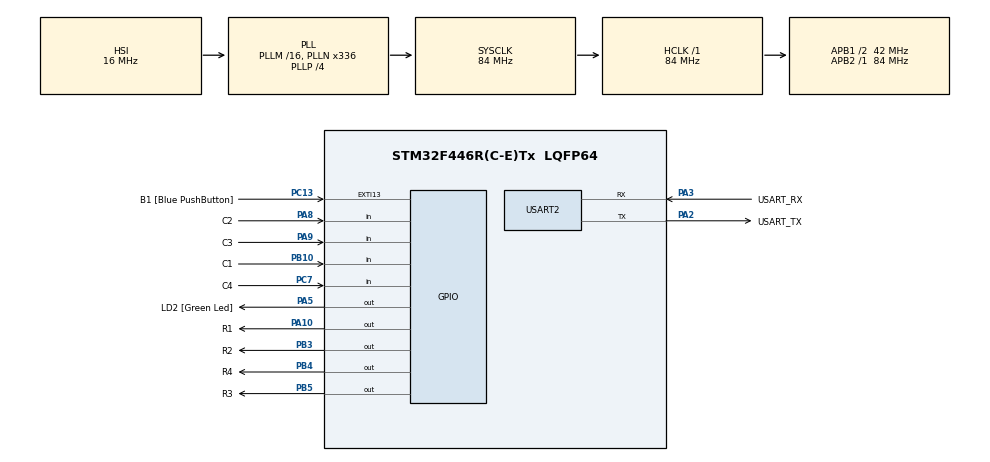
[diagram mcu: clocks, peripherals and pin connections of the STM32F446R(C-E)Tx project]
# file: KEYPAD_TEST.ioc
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Mcu.Family=STM32F4
Mcu.Name=STM32F446R(C-E)Tx
Mcu.Package=LQFP64
NVIC.PriorityGroup=NVIC_PRIORITYGROUP_0
PA10.GPIO_Label=R1
PA10.GPIO_PuPd=GPIO_NOPULL
PA10.Signal=GPIO_Output
PA13.GPIO_Label=TMS
PA13.Mode=Serial_Wire
PA13.Signal=SYS_JTMS-SWDIO
PA14.GPIO_Label=TCK
PA14.Mode=Serial_Wire
PA14.Signal=SYS_JTCK-SWCLK
PA2.GPIO_Label=USART_TX
PA2.Mode=Asynchronous
PA2.Signal=USART2_TX
PA3.GPIO_Label=USART_RX
PA3.Mode=Asynchronous
PA3.Signal=USART2_RX
PA5.GPIO_Label=LD2 [Green Led]
PA5.Signal=GPIO_Output
PA8.GPIO_Label=C2
PA8.GPIO_PuPd=GPIO_NOPULL
PA8.Signal=GPIO_Input
PA9.GPIO_Label=C3
PA9.GPIO_PuPd=GPIO_NOPULL
PA9.Signal=GPIO_Input
PB10.GPIO_Label=C1
PB10.GPIO_PuPd=GPIO_NOPULL
PB10.Signal=GPIO_Input
PB3.GPIO_Label=R2
PB3.Signal=GPIO_Output
PB4.GPIO_Label=R4
PB4.Signal=GPIO_Output
PB5.GPIO_Label=R3
PB5.Signal=GPIO_Output
PC13.GPIO_Label=B1 [Blue PushButton]
PC13.GPIO_ModeDefaultEXTI=GPIO_MODE_IT_FALLING
PC13.Signal=GPXTI13
PC14-OSC32_IN.Mode=LSE-External-Oscillator
PC14-OSC32_IN.Signal=RCC_OSC32_IN
PC15-OSC32_OUT.Mode=LSE-External-Oscillator
PC15-OSC32_OUT.Signal=RCC_OSC32_OUT
PC7.GPIO_Label=C4
PC7.GPIO_PuPd=GPIO_NOPULL
PC7.Signal=GPIO_Input
PH0-OSC_IN.Mode=HSE-External-Oscillator
PH0-OSC_IN.Signal=RCC_OSC_IN
PH1-OSC_OUT.Mode=HSE-External-Oscillator
PH1-OSC_OUT.Signal=RCC_OSC_OUT
ProjectManager.HeapSize=0x200
ProjectManager.StackSize=0x400
ProjectManager.TargetToolchain=STM32CubeIDE
RCC.48MHZClocksFreq_Value=84000000
RCC.AHBFreq_Value=84000000
RCC.APB1CLKDivider=RCC_HCLK_DIV2
RCC.APB1Freq_Value=42000000
RCC.APB1TimFreq_Value=84000000
RCC.APB2Freq_Value=84000000
RCC.APB2TimFreq_Value=84000000
RCC.CortexFreq_Value=84000000
RCC.FLatency-AdvancedSettings=FLASH_LATENCY_2
RCC.HCLKFreq_Value=84000000
RCC.HSE_VALUE=8000000
RCC.HSI_VALUE=16000000
RCC.PLLN=336
RCC.PLLP=RCC_PLLP_DIV4
RCC.SYSCLKFreq_VALUE=84000000
RCC.SYSCLKSource=RCC_SYSCLKSOURCE_PLLCLK
RCC.USBFreq_Value=168000000
RCC.VCOOutputFreq_Value=336000000
USART2.VirtualMode=VM_ASYNC
board=NUCLEO-F446RE

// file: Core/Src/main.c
/* USER CODE BEGIN Header */
/**
  ******************************************************************************
  * @file           : main.c
  * @brief          : Main program body
  ******************************************************************************
  * @attention
  *
  * Copyright (c) 2024 STMicroelectronics.
  * All rights reserved.
  *
  * This software is licensed under terms that can be found in the LICENSE file
  * in the root directory of this software component.
  * If no LICENSE file comes with this software, it is provided AS-IS.
  *
  ******************************************************************************
  */
/* USER CODE END Header */
#include "main.h"

UART_HandleTypeDef huart2;

/* USER CODE BEGIN PV */
uint8_t data = 0;
/* USER CODE END PV */

void SystemClock_Config(void);
static void MX_GPIO_Init(void);
static void MX_USART2_UART_Init(void);
/* USER CODE BEGIN PFP */
void readKeypad( void ) {

	HAL_GPIO_WritePin(GPIOA, R1_Pin, GPIO_PIN_SET);
	HAL_GPIO_WritePin(GPIOB, R2_Pin, GPIO_PIN_RESET);
	HAL_GPIO_WritePin(GPIOB, R3_Pin, GPIO_PIN_RESET);
	HAL_GPIO_WritePin(GPIOB, R4_Pin, GPIO_PIN_RESET);

	if(HAL_GPIO_ReadPin(GPIOB, C1_Pin) == GPIO_PIN_SET){

		data = '1';

		while(HAL_GPIO_ReadPin(GPIOB, C1_Pin) == GPIO_PIN_SET);
	}

	if(HAL_GPIO_ReadPin(GPIOA, C2_Pin) == GPIO_PIN_SET){

		data = '2';

		while(HAL_GPIO_ReadPin(GPIOA, C2_Pin) == GPIO_PIN_SET);
	}

	if(HAL_GPIO_ReadPin(GPIOA, C3_Pin) == GPIO_PIN_SET){

		data = '3';

		while(HAL_GPIO_ReadPin(GPIOA, C3_Pin) == GPIO_PIN_SET);
	}

	if(HAL_GPIO_ReadPin(GPIOA, C4_Pin) == GPIO_PIN_SET){

		data = 'A';

		while(HAL_GPIO_ReadPin(GPIOA, C4_Pin) == GPIO_PIN_SET);
	}

	HAL_GPIO_WritePin(GPIOA, R1_Pin, GPIO_PIN_RESET);
	HAL_GPIO_WritePin(GPIOB, R2_Pin, GPIO_PIN_SET);
	HAL_GPIO_WritePin(GPIOB, R3_Pin, GPIO_PIN_RESET);
	HAL_GPIO_WritePin(GPIOB, R4_Pin, GPIO_PIN_RESET);

	if(HAL_GPIO_ReadPin(GPIOB, C1_Pin) == GPIO_PIN_SET){

		data = '3';

		while(HAL_GPIO_ReadPin(GPIOB, C1_Pin) == GPIO_PIN_SET);
	}

	if(HAL_GPIO_ReadPin(GPIOA, C2_Pin) == GPIO_PIN_SET){

		data = '4';

		while(HAL_GPIO_ReadPin(GPIOA, C2_Pin) == GPIO_PIN_SET);
	}

	if(HAL_GPIO_ReadPin(GPIOA, C3_Pin) == GPIO_PIN_SET){

		data = '5';

		while(HAL_GPIO_ReadPin(GPIOA, C3_Pin) == GPIO_PIN_SET);
	}

	if(HAL_GPIO_ReadPin(GPIOA, C4_Pin) == GPIO_PIN_SET){

		data = 'B';

		while(HAL_GPIO_ReadPin(GPIOA, C4_Pin) == GPIO_PIN_SET);
	}

	HAL_GPIO_WritePin(GPIOA, R1_Pin, GPIO_PIN_RESET);
	HAL_GPIO_WritePin(GPIOB, R2_Pin, GPIO_PIN_RESET);
	HAL_GPIO_WritePin(GPIOB, R3_Pin, GPIO_PIN_SET);
	HAL_GPIO_WritePin(GPIOB, R4_Pin, GPIO_PIN_RESET);

	if(HAL_GPIO_ReadPin(GPIOB, C1_Pin) == GPIO_PIN_SET){

		data = '7';

		while(HAL_GPIO_ReadPin(GPIOB, C1_Pin) == GPIO_PIN_SET);
	}

	if(HAL_GPIO_ReadPin(GPIOA, C2_Pin) == GPIO_PIN_SET){

		data = '8';

		while(HAL_GPIO_ReadPin(GPIOA, C2_Pin) == GPIO_PIN_SET);
	}

	if(HAL_GPIO_ReadPin(GPIOA, C3_Pin) == GPIO_PIN_SET){

		data = '9';

		while(HAL_GPIO_ReadPin(GPIOA, C3_Pin) == GPIO_PIN_SET);
	}

	if(HAL_GPIO_ReadPin(GPIOA, C4_Pin) == GPIO_PIN_SET){

		data = 'C';

		while(HAL_GPIO_ReadPin(GPIOA, C4_Pin) == GPIO_PIN_SET);
	}

	HAL_GPIO_WritePin(GPIOA, R1_Pin, GPIO_PIN_RESET);
	HAL_GPIO_WritePin(GPIOB, R2_Pin, GPIO_PIN_RESET);
	HAL_GPIO_WritePin(GPIOB, R3_Pin, GPIO_PIN_RESET);
	HAL_GPIO_WritePin(GPIOB, R4_Pin, GPIO_PIN_SET);

	if(HAL_GPIO_ReadPin(GPIOB, C1_Pin) == GPIO_PIN_SET){

		data = '*';

		while(HAL_GPIO_ReadPin(GPIOB, C1_Pin) == GPIO_PIN_SET);
	}

	if(HAL_GPIO_ReadPin(GPIOA, C2_Pin) == GPIO_PIN_SET){

		data = '0';

		while(HAL_GPIO_ReadPin(GPIOA, C2_Pin) == GPIO_PIN_SET);
	}

	if(HAL_GPIO_ReadPin(GPIOA, C3_Pin) == GPIO_PIN_SET){

		data = '#';

		while(HAL_GPIO_ReadPin(GPIOA, C3_Pin) == GPIO_PIN_SET);
	}

	if(HAL_GPIO_ReadPin(GPIOA, C4_Pin) == GPIO_PIN_SET){

		data = 'D';

		while(HAL_GPIO_ReadPin(GPIOA, C4_Pin) == GPIO_PIN_SET);
	}
}
/* USER CODE END PFP */

int main(void)
{

  /* MCU Configuration--------------------------------------------------------*/

  /* Reset of all peripherals, Initializes the Flash interface and the Systick. */
  HAL_Init();

  /* Configure the system clock */
  SystemClock_Config();

  /* Initialize all configured peripherals */
  MX_GPIO_Init();
  MX_USART2_UART_Init();

  /* Infinite loop */
  /* USER CODE BEGIN WHILE */
  while (1)
  {
	  readKeypad();
    /* USER CODE END WHILE */

  }
}

void SystemClock_Config(void)
{
  RCC_OscInitTypeDef RCC_OscInitStruct = {0};
  RCC_ClkInitTypeDef RCC_ClkInitStruct = {0};

  /** Configure the main internal regulator output voltage
  */
  __HAL_RCC_PWR_CLK_ENABLE();
  __HAL_PWR_VOLTAGESCALING_CONFIG(PWR_REGULATOR_VOLTAGE_SCALE3);

  /** Initializes the RCC Oscillators according to the specified parameters
  * in the RCC_OscInitTypeDef structure.
  */
  RCC_OscInitStruct.OscillatorType = RCC_OSCILLATORTYPE_HSI;
  RCC_OscInitStruct.HSIState = RCC_HSI_ON;
  RCC_OscInitStruct.HSICalibrationValue = RCC_HSICALIBRATION_DEFAULT;
  RCC_OscInitStruct.PLL.PLLState = RCC_PLL_ON;
  RCC_OscInitStruct.PLL.PLLSource = RCC_PLLSOURCE_HSI;
  RCC_OscInitStruct.PLL.PLLM = 16;
  RCC_OscInitStruct.PLL.PLLN = 336;
  RCC_OscInitStruct.PLL.PLLP = RCC_PLLP_DIV4;
  RCC_OscInitStruct.PLL.PLLQ = 2;
  RCC_OscInitStruct.PLL.PLLR = 2;
  if (HAL_RCC_OscConfig(&RCC_OscInitStruct) != HAL_OK)
  {
    Error_Handler();
  }

  /** Initializes the CPU, AHB and APB buses clocks
  */
  RCC_ClkInitStruct.ClockType = RCC_CLOCKTYPE_HCLK|RCC_CLOCKTYPE_SYSCLK
                              |RCC_CLOCKTYPE_PCLK1|RCC_CLOCKTYPE_PCLK2;
  RCC_ClkInitStruct.SYSCLKSource = RCC_SYSCLKSOURCE_PLLCLK;
  RCC_ClkInitStruct.AHBCLKDivider = RCC_SYSCLK_DIV1;
  RCC_ClkInitStruct.APB1CLKDivider = RCC_HCLK_DIV2;
  RCC_ClkInitStruct.APB2CLKDivider = RCC_HCLK_DIV1;

  if (HAL_RCC_ClockConfig(&RCC_ClkInitStruct, FLASH_LATENCY_2) != HAL_OK)
  {
    Error_Handler();
  }
}

static void MX_USART2_UART_Init(void)
{

  huart2.Instance = USART2;
  huart2.Init.BaudRate = 115200;
  huart2.Init.WordLength = UART_WORDLENGTH_8B;
  huart2.Init.StopBits = UART_STOPBITS_1;
  huart2.Init.Parity = UART_PARITY_NONE;
  huart2.Init.Mode = UART_MODE_TX_RX;
  huart2.Init.HwFlowCtl = UART_HWCONTROL_NONE;
  huart2.Init.OverSampling = UART_OVERSAMPLING_16;
  if (HAL_UART_Init(&huart2) != HAL_OK)
  {
    Error_Handler();
  }

}

static void MX_GPIO_Init(void)
{
  GPIO_InitTypeDef GPIO_InitStruct = {0};

  /* GPIO Ports Clock Enable */
  __HAL_RCC_GPIOC_CLK_ENABLE();
  __HAL_RCC_GPIOH_CLK_ENABLE();
  __HAL_RCC_GPIOA_CLK_ENABLE();
  __HAL_RCC_GPIOB_CLK_ENABLE();

  /*Configure GPIO pin Output Level */
  HAL_GPIO_WritePin(GPIOA, LD2_Pin|R1_Pin, GPIO_PIN_RESET);

  /*Configure GPIO pin Output Level */
  HAL_GPIO_WritePin(GPIOB, R2_Pin|R4_Pin|R3_Pin, GPIO_PIN_RESET);

  /*Configure GPIO pin : B1_Pin */
  GPIO_InitStruct.Pin = B1_Pin;
  GPIO_InitStruct.Mode = GPIO_MODE_IT_FALLING;
  GPIO_InitStruct.Pull = GPIO_NOPULL;
  HAL_GPIO_Init(B1_GPIO_Port, &GPIO_InitStruct);

  /*Configure GPIO pins : LD2_Pin R1_Pin */
  GPIO_InitStruct.Pin = LD2_Pin|R1_Pin;
  GPIO_InitStruct.Mode = GPIO_MODE_OUTPUT_PP;
  GPIO_InitStruct.Pull = GPIO_NOPULL;
  GPIO_InitStruct.Speed = GPIO_SPEED_FREQ_LOW;
  HAL_GPIO_Init(GPIOA, &GPIO_InitStruct);

  /*Configure GPIO pin : C1_Pin */
  GPIO_InitStruct.Pin = C1_Pin;
  GPIO_InitStruct.Mode = GPIO_MODE_INPUT;
  GPIO_InitStruct.Pull = GPIO_NOPULL;
  HAL_GPIO_Init(C1_GPIO_Port, &GPIO_InitStruct);

  /*Configure GPIO pin : C4_Pin */
  GPIO_InitStruct.Pin = C4_Pin;
  GPIO_InitStruct.Mode = GPIO_MODE_INPUT;
  GPIO_InitStruct.Pull = GPIO_NOPULL;
  HAL_GPIO_Init(C4_GPIO_Port, &GPIO_InitStruct);

  /*Configure GPIO pins : C2_Pin C3_Pin */
  GPIO_InitStruct.Pin = C2_Pin|C3_Pin;
  GPIO_InitStruct.Mode = GPIO_MODE_INPUT;
  GPIO_InitStruct.Pull = GPIO_NOPULL;
  HAL_GPIO_Init(GPIOA, &GPIO_InitStruct);

  /*Configure GPIO pins : R2_Pin R4_Pin R3_Pin */
  GPIO_InitStruct.Pin = R2_Pin|R4_Pin|R3_Pin;
  GPIO_InitStruct.Mode = GPIO_MODE_OUTPUT_PP;
  GPIO_InitStruct.Pull = GPIO_NOPULL;
  GPIO_InitStruct.Speed = GPIO_SPEED_FREQ_LOW;
  HAL_GPIO_Init(GPIOB, &GPIO_InitStruct);

}

void Error_Handler(void)
{
  __disable_irq();
  while (1)
  {
  }
}
